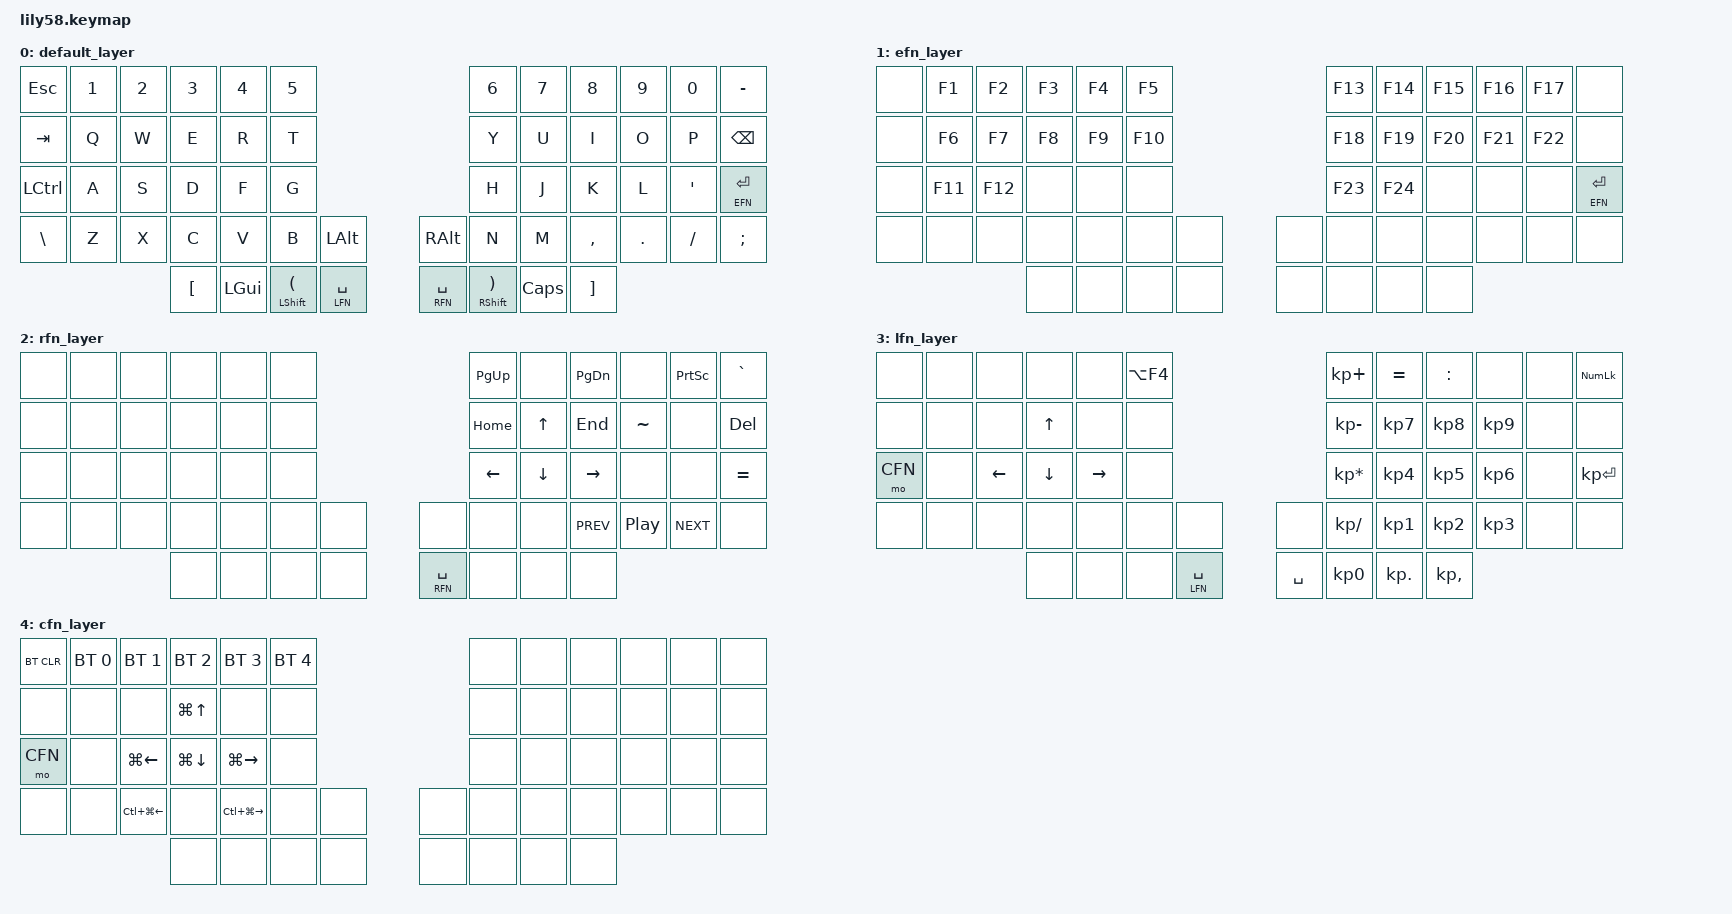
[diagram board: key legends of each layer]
/*
 * Copyright (c) 2020 The ZMK Contributors
 *
 * SPDX-License-Identifier: MIT
 */

#include <behaviors.dtsi>
#include <dt-bindings/zmk/keys.h>
#include <dt-bindings/zmk/bt.h>
#include <dt-bindings/zmk/ext_power.h>

#define DFAULT	0
#define EFN			1
#define RFN			2
#define LFN			3
#define CFN			4

/ {
	keymap {
		compatible = "zmk,keymap";

		default_layer {
			bindings = <
&kp ESC   &kp N1 &kp N2 &kp N3   &kp N4   &kp N5                     &kp N6 &kp N7   &kp N8    &kp N9  &kp N0   &kp MINUS
&kp TAB   &kp Q  &kp W  &kp E    &kp R    &kp T                      &kp Y  &kp U    &kp I     &kp O   &kp P    &kp BSPC
&kp LCTRL &kp A  &kp S  &kp D    &kp F    &kp G                      &kp H  &kp J    &kp K     &kp L   &kp SQT  &lt EFN RET
&kp BSLH  &kp Z  &kp X  &kp C    &kp V    &kp B  &kp LALT   &kp RALT &kp N  &kp M    &kp COMMA &kp DOT &kp FSLH &kp SEMI
                        &kp LBKT &kp LGUI &mt LSHIFT LPAR   &lt LFN SPACE       &lt RFN SPACE     &mt RSHIFT RPAR   &kp CAPS &kp RBKT
			>;
		};

		efn_layer {
			bindings = <
&none &kp F1  &kp F2  &kp F3   &kp F4   &kp F5               &kp F13 &kp F14 &kp F15 &kp F16 &kp F17 &none
&none &kp F6  &kp F7  &kp F8   &kp F9   &kp F10              &kp F18 &kp F19 &kp F20 &kp F21 &kp F22 &none
&none &kp F11 &kp F12 &none    &none    &none                &kp F23 &kp F24 &none   &none   &none   &lt EFN RET
&none &none   &none   &none    &none    &none  &none   &none &none   &none   &none   &none   &none   &none
                      &none    &none    &none  &none   &none &none   &none   &none
			>;
		};

		rfn_layer {
			bindings = <
&none &none &none &none &none &none                 &kp PG_UP &none    &kp PG_DN  &none     &kp PSCRN  &kp GRAVE
&none &none &none &none &none &none                 &kp HOME  &kp UP   &kp END    &kp TILDE &none      &kp DEL
&none &none &none &none &none &none                 &kp LEFT  &kp DOWN &kp RIGHT  &none     &none      &kp EQUAL
&none &none &none &none &none &none  &none   &none  &none    &none     &kp C_PREV &kp C_PP  &kp C_NEXT &none
                  &none &none &none  &none   &lt RFN SPACE   &none    &none     &none
			>;
		};

		lfn_layer {
			bindings = <
&none   &none  &none     &none    &none     &kp LA(F4)                        &kp KP_PLUS     &kp EQUAL  &kp COLON    &none     &none    &kp KP_NUM
&none   &none  &none     &kp UP   &none     &none                             &kp KP_MINUS    &kp KP_N7  &kp KP_N8    &kp KP_N9 &none    &none
&mo CFN    &none  &kp LEFT  &kp DOWN &kp RIGHT &none                             &kp KP_MULTIPLY &kp KP_N4  &kp KP_N5    &kp KP_N6 &none    &kp KP_ENTER
&none   &none  &none     &none    &none     &none  &none            &none     &kp KP_SLASH    &kp KP_N1  &kp KP_N2    &kp KP_N3 &none    &none
                         &none    &none     &none  &lt LFN SPACE    &kp SPACE &kp KP_N0       &kp KP_DOT &kp KP_COMMA
			>;
		};

		cfn_layer {
			bindings = <
&bt BT_CLR &bt BT_SEL 0     &bt BT_SEL 1      &bt BT_SEL 2      &bt BT_SEL 3      &bt BT_SEL 4            &none &none &none &none &none &none 
&none      &none            &none             &kp LG(UP)        &none             &none                   &none &none &none &none &none &none 
&mo CFN    &none            &kp LG(LEFT)      &kp LG(DOWN)      &kp LG(RIGHT)     &none                   &none &none &none &none &none &none
&none      &none            &kp LC(LG(LEFT))  &none             &kp LC(LG(RIGHT)) &none     &none   &none &none &none &none &none &none &none
                                              &none             &none             &none     &none   &none &none &none &none 
			>;
		};
	};
};
